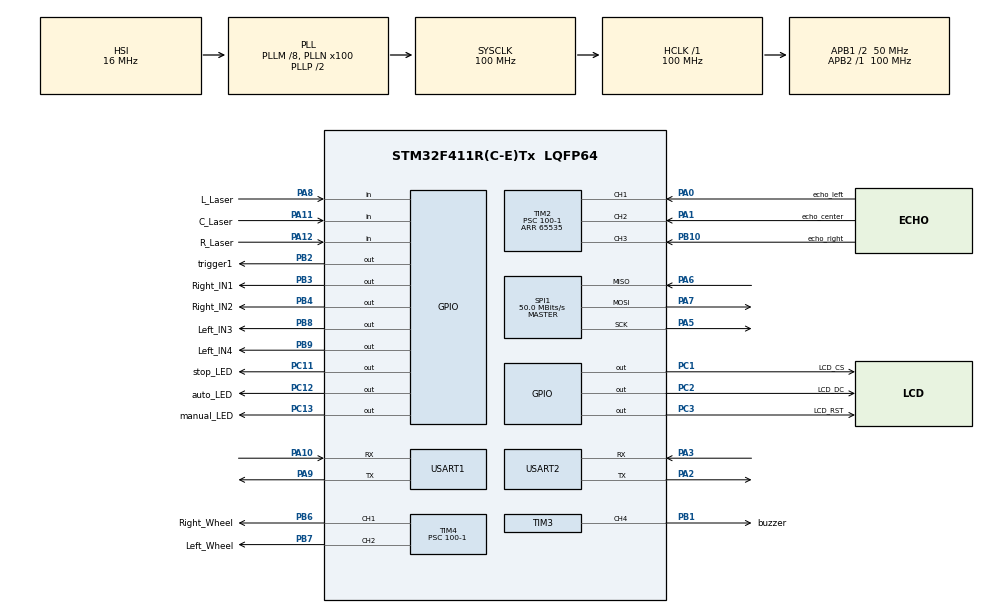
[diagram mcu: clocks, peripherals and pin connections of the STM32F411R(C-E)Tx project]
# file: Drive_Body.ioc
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Dma.Request0=SPI1_TX
Dma.SPI1_TX.0.Direction=DMA_MEMORY_TO_PERIPH
Dma.SPI1_TX.0.FIFOMode=DMA_FIFOMODE_DISABLE
Dma.SPI1_TX.0.Instance=DMA2_Stream2
Dma.SPI1_TX.0.MemDataAlignment=DMA_MDATAALIGN_BYTE
Dma.SPI1_TX.0.MemInc=DMA_MINC_ENABLE
Dma.SPI1_TX.0.Mode=DMA_NORMAL
Dma.SPI1_TX.0.PeriphDataAlignment=DMA_PDATAALIGN_BYTE
Dma.SPI1_TX.0.PeriphInc=DMA_PINC_DISABLE
Dma.SPI1_TX.0.Priority=DMA_PRIORITY_LOW
Mcu.Family=STM32F4
Mcu.Name=STM32F411R(C-E)Tx
Mcu.Package=LQFP64
NVIC.DMA2_Stream2_IRQn=true\:0\:0\:false\:false\:true\:false\:true\:true
NVIC.PriorityGroup=NVIC_PRIORITYGROUP_4
NVIC.SPI1_IRQn=true\:0\:0\:false\:false\:true\:true\:true\:true
NVIC.TIM1_TRG_COM_TIM11_IRQn=true\:0\:0\:false\:false\:true\:true\:true\:true
NVIC.TIM2_IRQn=true\:0\:0\:false\:false\:true\:true\:true\:true
NVIC.USART1_IRQn=true\:0\:0\:false\:false\:true\:true\:true\:true
NVIC.USART2_IRQn=true\:0\:0\:false\:false\:true\:true\:true\:true
PA0-WKUP.GPIO_Label=echo_left
PA0-WKUP.Signal=S_TIM2_CH1_ETR
PA1.GPIO_Label=echo_center
PA1.Signal=S_TIM2_CH2
PA10.Mode=Asynchronous
PA10.Signal=USART1_RX
PA11.GPIO_Label=C_Laser
PA11.Signal=GPIO_Input
PA12.GPIO_Label=R_Laser
PA12.Signal=GPIO_Input
PA2.Mode=Asynchronous
PA2.Signal=USART2_TX
PA3.Mode=Asynchronous
PA3.Signal=USART2_RX
PA5.Mode=Full_Duplex_Master
PA5.Signal=SPI1_SCK
PA6.Mode=Full_Duplex_Master
PA6.Signal=SPI1_MISO
PA7.Mode=Full_Duplex_Master
PA7.Signal=SPI1_MOSI
PA8.GPIO_Label=L_Laser
PA8.Signal=GPIO_Input
PA9.Mode=Asynchronous
PA9.Signal=USART1_TX
PB1.GPIO_Label=buzzer
PB1.Signal=S_TIM3_CH4
PB10.GPIO_Label=echo_right
PB10.Signal=S_TIM2_CH3
PB2.GPIO_Label=trigger1
PB2.Signal=GPIO_Output
PB3.GPIO_Label=Right_IN1
PB3.Signal=GPIO_Output
PB4.GPIO_Label=Right_IN2
PB4.Signal=GPIO_Output
PB6.GPIO_Label=Right_Wheel
PB6.Signal=S_TIM4_CH1
PB7.GPIO_Label=Left_Wheel
PB7.Signal=S_TIM4_CH2
PB8.GPIO_Label=Left_IN3
PB8.Signal=GPIO_Output
PB9.GPIO_Label=Left_IN4
PB9.Signal=GPIO_Output
PC1.GPIO_Label=LCD_CS
PC1.Signal=GPIO_Output
PC11.GPIO_Label=stop_LED
PC11.Signal=GPIO_Output
PC12.GPIO_Label=auto_LED
PC12.Signal=GPIO_Output
PC13-ANTI_TAMP.GPIO_Label=manual_LED
PC13-ANTI_TAMP.Signal=GPIO_Output
PC2.GPIO_Label=LCD_DC
PC2.Signal=GPIO_Output
PC3.GPIO_Label=LCD_RST
PC3.Signal=GPIO_Output
ProjectManager.HeapSize=0x200
ProjectManager.StackSize=0x400
ProjectManager.TargetToolchain=STM32CubeIDE
RCC.48MHZClocksFreq_Value=50000000
RCC.AHBFreq_Value=100000000
RCC.APB1CLKDivider=RCC_HCLK_DIV2
RCC.APB1Freq_Value=50000000
RCC.APB1TimFreq_Value=100000000
RCC.APB2Freq_Value=100000000
RCC.APB2TimFreq_Value=100000000
RCC.CortexFreq_Value=100000000
RCC.HCLKFreq_Value=100000000
RCC.HSE_VALUE=25000000
RCC.HSI_VALUE=16000000
RCC.LSE_VALUE=32768
RCC.PLLM=8
RCC.PLLN=100
RCC.SYSCLKFreq_VALUE=100000000
RCC.SYSCLKSource=RCC_SYSCLKSOURCE_PLLCLK
RCC.VCOOutputFreq_Value=200000000
SH.S_TIM2_CH1_ETR.0=TIM2_CH1,Input_Capture1_from_TI1
SH.S_TIM2_CH2.0=TIM2_CH2,Input_Capture2_from_TI2
SH.S_TIM2_CH3.0=TIM2_CH3,Input_Capture3_from_TI3
SH.S_TIM3_CH4.0=TIM3_CH4,PWM Generation4 CH4
SH.S_TIM4_CH1.0=TIM4_CH1,PWM Generation1 CH1
SH.S_TIM4_CH2.0=TIM4_CH2,PWM Generation2 CH2
SPI1.CalculateBaudRate=50.0 MBits/s
SPI1.Direction=SPI_DIRECTION_2LINES
SPI1.Mode=SPI_MODE_MASTER
SPI1.VirtualType=VM_MASTER
TIM11.Prescaler=100-1
TIM2.Channel-Input_Capture1_from_TI1=TIM_CHANNEL_1
TIM2.Channel-Input_Capture2_from_TI2=TIM_CHANNEL_2
TIM2.Channel-Input_Capture3_from_TI3=TIM_CHANNEL_3
TIM2.Period=65535
TIM2.Prescaler=100-1
TIM3.Channel-PWM\ Generation4\ CH4=TIM_CHANNEL_4
TIM3.Prescaler=100-1
TIM4.Channel-PWM\ Generation1\ CH1=TIM_CHANNEL_1
TIM4.Channel-PWM\ Generation2\ CH2=TIM_CHANNEL_2
TIM4.Period=65535
TIM4.Prescaler=100-1
USART1.VirtualMode=VM_ASYNC
USART2.VirtualMode=VM_ASYNC
VP_TIM11_VS_ClockSourceINT.Mode=Enable_Timer
VP_TIM2_VS_ClockSourceINT.Mode=Internal
VP_TIM3_VS_ClockSourceINT.Mode=Internal
VP_TIM4_VS_ClockSourceINT.Mode=Internal
board=custom

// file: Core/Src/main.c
/* USER CODE BEGIN Header */
/**
 ******************************************************************************
 * @file           : main.c
 * @brief          : Main program body
 ******************************************************************************
 * @attention
 *
 * Copyright (c) 2024 STMicroelectronics.
 * All rights reserved.
 *
 * This software is licensed under terms that can be found in the LICENSE file
 * in the root directory of this software component.
 * If no LICENSE file comes with this software, it is provided AS-IS.
 *
 ******************************************************************************
 */
/* USER CODE END Header */
#include "main.h"

/* USER CODE BEGIN Includes */
#include "adcData.h"
#include "math.h"
#include "ultraSonic.h"
#include "autoMove.h"
#include "ILI9341_GFX.h"
#include "ILI9341_STM32_Driver.h"
#include "fonts.h"
#include "led.h"
#include "buzzer.h"
/* USER CODE END Includes */

SPI_HandleTypeDef hspi1;
DMA_HandleTypeDef hdma_spi1_tx;

TIM_HandleTypeDef htim2;
TIM_HandleTypeDef htim3;
TIM_HandleTypeDef htim4;
TIM_HandleTypeDef htim11;

UART_HandleTypeDef huart1;
UART_HandleTypeDef huart2;

/* USER CODE BEGIN PV */
uint8_t uart1_buf;
uint8_t uart2_buf;

uint8_t adc_cplt_flag = 0;

uint8_t adcVal[7];

safeState_t safemodestate = NONE;

/* USER CODE END PV */

void SystemClock_Config(void);
static void MX_GPIO_Init(void);
static void MX_DMA_Init(void);
static void MX_USART1_UART_Init(void);
static void MX_USART2_UART_Init(void);
static void MX_TIM4_Init(void);
static void MX_TIM2_Init(void);
static void MX_TIM11_Init(void);
static void MX_SPI1_Init(void);
static void MX_TIM3_Init(void);
/* USER CODE BEGIN PFP */
void changeFlag();
void state_Run();

/* USER CODE END PFP */

/* USER CODE BEGIN 0 */
int _write(int file, char *p, int len) {
	HAL_UART_Transmit_IT(&huart2, p, len);
	return len;
}

/* USER CODE END 0 */

int main(void) {

	/* MCU Configuration--------------------------------------------------------*/

	/* Reset of all peripherals, Initializes the Flash interface and the Systick. */
	HAL_Init();

	/* Configure the system clock */
	SystemClock_Config();

	/* Initialize all configured peripherals */
	MX_GPIO_Init();
	MX_DMA_Init();
	MX_USART1_UART_Init();
	MX_USART2_UART_Init();
	MX_TIM4_Init();
	MX_TIM2_Init();
	MX_TIM11_Init();
	MX_SPI1_Init();
	MX_TIM3_Init();
	/* USER CODE BEGIN 2 */
	HAL_UART_Receive_IT(&huart2, &uart2_buf, 1);
	HAL_UART_Receive_IT(&huart1, &uart1_buf, 1);

	LED_init();
	LCD_INIT();
	initSound(&htim3);

	ultraSonicInit(&htim2, &htim11);
	initAutoMove(&htim4);
	HAL_TIM_PWM_Start(&htim4, TIM_CHANNEL_1);
	HAL_TIM_PWM_Start(&htim4, TIM_CHANNEL_2);

	/* USER CODE END 2 */

	/* Infinite loop */
	/* USER CODE BEGIN WHILE */
	while (1) {
		getADCdata(&adc_cplt_flag, &adcVal[0], sizeof(adcVal));

//		printf("%d,%d,%d,%d\n",controlData.modeState,controlData.XData,controlData.hornData, controlData.YData);

		changeFlag();
		horn_Run(controlData.hornData);

		state_Run();

		speedLCD_ON((int) controlData.XData - 2118, (int) controlData.YData - 2068,
				(int) controlData.modeState);

		/* USER CODE END WHILE */

	}
}

void SystemClock_Config(void) {
	RCC_OscInitTypeDef RCC_OscInitStruct = { 0 };
	RCC_ClkInitTypeDef RCC_ClkInitStruct = { 0 };

	/** Configure the main internal regulator output voltage
	 */
	__HAL_RCC_PWR_CLK_ENABLE();
	__HAL_PWR_VOLTAGESCALING_CONFIG(PWR_REGULATOR_VOLTAGE_SCALE1);

	/** Initializes the RCC Oscillators according to the specified parameters
	 * in the RCC_OscInitTypeDef structure.
	 */
	RCC_OscInitStruct.OscillatorType = RCC_OSCILLATORTYPE_HSI;
	RCC_OscInitStruct.HSIState = RCC_HSI_ON;
	RCC_OscInitStruct.HSICalibrationValue = RCC_HSICALIBRATION_DEFAULT;
	RCC_OscInitStruct.PLL.PLLState = RCC_PLL_ON;
	RCC_OscInitStruct.PLL.PLLSource = RCC_PLLSOURCE_HSI;
	RCC_OscInitStruct.PLL.PLLM = 8;
	RCC_OscInitStruct.PLL.PLLN = 100;
	RCC_OscInitStruct.PLL.PLLP = RCC_PLLP_DIV2;
	RCC_OscInitStruct.PLL.PLLQ = 4;
	if (HAL_RCC_OscConfig(&RCC_OscInitStruct) != HAL_OK) {
		Error_Handler();
	}

	/** Initializes the CPU, AHB and APB buses clocks
	 */
	RCC_ClkInitStruct.ClockType = RCC_CLOCKTYPE_HCLK | RCC_CLOCKTYPE_SYSCLK
			| RCC_CLOCKTYPE_PCLK1 | RCC_CLOCKTYPE_PCLK2;
	RCC_ClkInitStruct.SYSCLKSource = RCC_SYSCLKSOURCE_PLLCLK;
	RCC_ClkInitStruct.AHBCLKDivider = RCC_SYSCLK_DIV1;
	RCC_ClkInitStruct.APB1CLKDivider = RCC_HCLK_DIV2;
	RCC_ClkInitStruct.APB2CLKDivider = RCC_HCLK_DIV1;

	if (HAL_RCC_ClockConfig(&RCC_ClkInitStruct, FLASH_LATENCY_3) != HAL_OK) {
		Error_Handler();
	}
}

static void MX_SPI1_Init(void) {

	/* SPI1 parameter configuration*/
	hspi1.Instance = SPI1;
	hspi1.Init.Mode = SPI_MODE_MASTER;
	hspi1.Init.Direction = SPI_DIRECTION_2LINES;
	hspi1.Init.DataSize = SPI_DATASIZE_8BIT;
	hspi1.Init.CLKPolarity = SPI_POLARITY_LOW;
	hspi1.Init.CLKPhase = SPI_PHASE_1EDGE;
	hspi1.Init.NSS = SPI_NSS_SOFT;
	hspi1.Init.BaudRatePrescaler = SPI_BAUDRATEPRESCALER_2;
	hspi1.Init.FirstBit = SPI_FIRSTBIT_MSB;
	hspi1.Init.TIMode = SPI_TIMODE_DISABLE;
	hspi1.Init.CRCCalculation = SPI_CRCCALCULATION_DISABLE;
	hspi1.Init.CRCPolynomial = 10;
	if (HAL_SPI_Init(&hspi1) != HAL_OK) {
		Error_Handler();
	}

}

static void MX_TIM2_Init(void) {

	TIM_ClockConfigTypeDef sClockSourceConfig = { 0 };
	TIM_MasterConfigTypeDef sMasterConfig = { 0 };
	TIM_IC_InitTypeDef sConfigIC = { 0 };

	htim2.Instance = TIM2;
	htim2.Init.Prescaler = 100 - 1;
	htim2.Init.CounterMode = TIM_COUNTERMODE_UP;
	htim2.Init.Period = 65535;
	htim2.Init.ClockDivision = TIM_CLOCKDIVISION_DIV1;
	htim2.Init.AutoReloadPreload = TIM_AUTORELOAD_PRELOAD_DISABLE;
	if (HAL_TIM_Base_Init(&htim2) != HAL_OK) {
		Error_Handler();
	}
	sClockSourceConfig.ClockSource = TIM_CLOCKSOURCE_INTERNAL;
	if (HAL_TIM_ConfigClockSource(&htim2, &sClockSourceConfig) != HAL_OK) {
		Error_Handler();
	}
	if (HAL_TIM_IC_Init(&htim2) != HAL_OK) {
		Error_Handler();
	}
	sMasterConfig.MasterOutputTrigger = TIM_TRGO_RESET;
	sMasterConfig.MasterSlaveMode = TIM_MASTERSLAVEMODE_DISABLE;
	if (HAL_TIMEx_MasterConfigSynchronization(&htim2, &sMasterConfig) != HAL_OK) {
		Error_Handler();
	}
	sConfigIC.ICPolarity = TIM_INPUTCHANNELPOLARITY_RISING;
	sConfigIC.ICSelection = TIM_ICSELECTION_DIRECTTI;
	sConfigIC.ICPrescaler = TIM_ICPSC_DIV1;
	sConfigIC.ICFilter = 0;
	if (HAL_TIM_IC_ConfigChannel(&htim2, &sConfigIC, TIM_CHANNEL_1) != HAL_OK) {
		Error_Handler();
	}
	if (HAL_TIM_IC_ConfigChannel(&htim2, &sConfigIC, TIM_CHANNEL_2) != HAL_OK) {
		Error_Handler();
	}
	if (HAL_TIM_IC_ConfigChannel(&htim2, &sConfigIC, TIM_CHANNEL_3) != HAL_OK) {
		Error_Handler();
	}

}

static void MX_TIM3_Init(void) {

	TIM_ClockConfigTypeDef sClockSourceConfig = { 0 };
	TIM_MasterConfigTypeDef sMasterConfig = { 0 };
	TIM_OC_InitTypeDef sConfigOC = { 0 };

	htim3.Instance = TIM3;
	htim3.Init.Prescaler = 100 - 1;
	htim3.Init.CounterMode = TIM_COUNTERMODE_UP;
	htim3.Init.Period = 65535;
	htim3.Init.ClockDivision = TIM_CLOCKDIVISION_DIV1;
	htim3.Init.AutoReloadPreload = TIM_AUTORELOAD_PRELOAD_DISABLE;
	if (HAL_TIM_Base_Init(&htim3) != HAL_OK) {
		Error_Handler();
	}
	sClockSourceConfig.ClockSource = TIM_CLOCKSOURCE_INTERNAL;
	if (HAL_TIM_ConfigClockSource(&htim3, &sClockSourceConfig) != HAL_OK) {
		Error_Handler();
	}
	if (HAL_TIM_PWM_Init(&htim3) != HAL_OK) {
		Error_Handler();
	}
	sMasterConfig.MasterOutputTrigger = TIM_TRGO_RESET;
	sMasterConfig.MasterSlaveMode = TIM_MASTERSLAVEMODE_DISABLE;
	if (HAL_TIMEx_MasterConfigSynchronization(&htim3, &sMasterConfig) != HAL_OK) {
		Error_Handler();
	}
	sConfigOC.OCMode = TIM_OCMODE_PWM1;
	sConfigOC.Pulse = 0;
	sConfigOC.OCPolarity = TIM_OCPOLARITY_HIGH;
	sConfigOC.OCFastMode = TIM_OCFAST_DISABLE;
	if (HAL_TIM_PWM_ConfigChannel(&htim3, &sConfigOC, TIM_CHANNEL_4) != HAL_OK) {
		Error_Handler();
	}
	HAL_TIM_MspPostInit(&htim3);

}

static void MX_TIM4_Init(void) {

	TIM_ClockConfigTypeDef sClockSourceConfig = { 0 };
	TIM_MasterConfigTypeDef sMasterConfig = { 0 };
	TIM_OC_InitTypeDef sConfigOC = { 0 };

	htim4.Instance = TIM4;
	htim4.Init.Prescaler = 100 - 1;
	htim4.Init.CounterMode = TIM_COUNTERMODE_UP;
	htim4.Init.Period = 65535;
	htim4.Init.ClockDivision = TIM_CLOCKDIVISION_DIV1;
	htim4.Init.AutoReloadPreload = TIM_AUTORELOAD_PRELOAD_DISABLE;
	if (HAL_TIM_Base_Init(&htim4) != HAL_OK) {
		Error_Handler();
	}
	sClockSourceConfig.ClockSource = TIM_CLOCKSOURCE_INTERNAL;
	if (HAL_TIM_ConfigClockSource(&htim4, &sClockSourceConfig) != HAL_OK) {
		Error_Handler();
	}
	if (HAL_TIM_PWM_Init(&htim4) != HAL_OK) {
		Error_Handler();
	}
	sMasterConfig.MasterOutputTrigger = TIM_TRGO_RESET;
	sMasterConfig.MasterSlaveMode = TIM_MASTERSLAVEMODE_DISABLE;
	if (HAL_TIMEx_MasterConfigSynchronization(&htim4, &sMasterConfig) != HAL_OK) {
		Error_Handler();
	}
	sConfigOC.OCMode = TIM_OCMODE_PWM1;
	sConfigOC.Pulse = 0;
	sConfigOC.OCPolarity = TIM_OCPOLARITY_HIGH;
	sConfigOC.OCFastMode = TIM_OCFAST_DISABLE;
	if (HAL_TIM_PWM_ConfigChannel(&htim4, &sConfigOC, TIM_CHANNEL_1) != HAL_OK) {
		Error_Handler();
	}
	if (HAL_TIM_PWM_ConfigChannel(&htim4, &sConfigOC, TIM_CHANNEL_2) != HAL_OK) {
		Error_Handler();
	}
	HAL_TIM_MspPostInit(&htim4);

}

static void MX_TIM11_Init(void) {

	htim11.Instance = TIM11;
	htim11.Init.Prescaler = 100 - 1;
	htim11.Init.CounterMode = TIM_COUNTERMODE_UP;
	htim11.Init.Period = 65535;
	htim11.Init.ClockDivision = TIM_CLOCKDIVISION_DIV1;
	htim11.Init.AutoReloadPreload = TIM_AUTORELOAD_PRELOAD_DISABLE;
	if (HAL_TIM_Base_Init(&htim11) != HAL_OK) {
		Error_Handler();
	}

}

static void MX_USART1_UART_Init(void) {

	huart1.Instance = USART1;
	huart1.Init.BaudRate = 115200;
	huart1.Init.WordLength = UART_WORDLENGTH_8B;
	huart1.Init.StopBits = UART_STOPBITS_1;
	huart1.Init.Parity = UART_PARITY_NONE;
	huart1.Init.Mode = UART_MODE_TX_RX;
	huart1.Init.HwFlowCtl = UART_HWCONTROL_NONE;
	huart1.Init.OverSampling = UART_OVERSAMPLING_16;
	if (HAL_UART_Init(&huart1) != HAL_OK) {
		Error_Handler();
	}

}

static void MX_USART2_UART_Init(void) {

	huart2.Instance = USART2;
	huart2.Init.BaudRate = 115200;
	huart2.Init.WordLength = UART_WORDLENGTH_8B;
	huart2.Init.StopBits = UART_STOPBITS_1;
	huart2.Init.Parity = UART_PARITY_NONE;
	huart2.Init.Mode = UART_MODE_TX_RX;
	huart2.Init.HwFlowCtl = UART_HWCONTROL_NONE;
	huart2.Init.OverSampling = UART_OVERSAMPLING_16;
	if (HAL_UART_Init(&huart2) != HAL_OK) {
		Error_Handler();
	}

}

static void MX_DMA_Init(void) {

	/* DMA controller clock enable */
	__HAL_RCC_DMA2_CLK_ENABLE();

	/* DMA interrupt init */
	/* DMA2_Stream2_IRQn interrupt configuration */
	HAL_NVIC_SetPriority(DMA2_Stream2_IRQn, 0, 0);
	HAL_NVIC_EnableIRQ(DMA2_Stream2_IRQn);

}

static void MX_GPIO_Init(void) {
	GPIO_InitTypeDef GPIO_InitStruct = { 0 };

	/* GPIO Ports Clock Enable */
	__HAL_RCC_GPIOC_CLK_ENABLE();
	__HAL_RCC_GPIOA_CLK_ENABLE();
	__HAL_RCC_GPIOB_CLK_ENABLE();

	/*Configure GPIO pin Output Level */
	HAL_GPIO_WritePin(GPIOC,
			manual_LED_Pin | LCD_CS_Pin | LCD_DC_Pin | LCD_RST_Pin | stop_LED_Pin
					| auto_LED_Pin, GPIO_PIN_RESET);

	/*Configure GPIO pin Output Level */
	HAL_GPIO_WritePin(GPIOB,
			trigger1_Pin | Right_IN1_Pin | Right_IN2_Pin | Left_IN3_Pin | Left_IN4_Pin,
			GPIO_PIN_RESET);

	/*Configure GPIO pins : manual_LED_Pin LCD_CS_Pin LCD_DC_Pin LCD_RST_Pin
	 stop_LED_Pin auto_LED_Pin */
	GPIO_InitStruct.Pin = manual_LED_Pin | LCD_CS_Pin | LCD_DC_Pin | LCD_RST_Pin
			| stop_LED_Pin | auto_LED_Pin;
	GPIO_InitStruct.Mode = GPIO_MODE_OUTPUT_PP;
	GPIO_InitStruct.Pull = GPIO_NOPULL;
	GPIO_InitStruct.Speed = GPIO_SPEED_FREQ_LOW;
	HAL_GPIO_Init(GPIOC, &GPIO_InitStruct);

	/*Configure GPIO pins : trigger1_Pin Right_IN1_Pin Right_IN2_Pin Left_IN3_Pin
	 Left_IN4_Pin */
	GPIO_InitStruct.Pin = trigger1_Pin | Right_IN1_Pin | Right_IN2_Pin
			| Left_IN3_Pin | Left_IN4_Pin;
	GPIO_InitStruct.Mode = GPIO_MODE_OUTPUT_PP;
	GPIO_InitStruct.Pull = GPIO_NOPULL;
	GPIO_InitStruct.Speed = GPIO_SPEED_FREQ_LOW;
	HAL_GPIO_Init(GPIOB, &GPIO_InitStruct);

	/*Configure GPIO pins : L_Laser_Pin C_Laser_Pin R_Laser_Pin */
	GPIO_InitStruct.Pin = L_Laser_Pin | C_Laser_Pin | R_Laser_Pin;
	GPIO_InitStruct.Mode = GPIO_MODE_INPUT;
	GPIO_InitStruct.Pull = GPIO_NOPULL;
	HAL_GPIO_Init(GPIOA, &GPIO_InitStruct);

}

/* USER CODE BEGIN 4 */
void HAL_UART_RxCpltCallback(UART_HandleTypeDef *huart) {
	static uint8_t cnt = 0;
	if (huart->Instance == USART1) {
		HAL_UART_Receive_IT(&huart1, &uart1_buf, 1);
		//HAL_UART_Transmit_IT(&huart2, &uart1_buf, 1);
		switch (cnt) {
		case 0:
			if (uart1_buf == 0x48) {
				adcVal[cnt] = uart1_buf;
				cnt++;
			}
			break;
		case 1:
			if (uart1_buf == 0x59) {
				adcVal[cnt] = uart1_buf;
				cnt++;
			}
			break;
		case 6:
			adcVal[cnt] = uart1_buf;
			cnt = 0;
			adc_cplt_flag = 1;
			break;
		default:
			adcVal[cnt] = uart1_buf;
			cnt++;
		}
	}
	if (huart->Instance == USART2) {
		HAL_UART_Receive_IT(&huart2, &uart2_buf, 1);
		HAL_UART_Transmit_IT(&huart1, &uart2_buf, 1);
	}
}

void changeFlag(){
	if (controlData.modeChangeFlag == 1) {
		switch (controlData.modeState) {
		case 0x00:
			MoveStop(&htim4);
			suddenlyModeLed();
			suddenlyStopSound(&htim3);
			stopSound(&htim3);
			break;
		case 0x01:
			MoveStop(&htim4);
			manualModeLed();
			manualModeSound(&htim3);
			stopSound(&htim3);
			break;
		case 0x02:
			MoveStop(&htim4);
			autoModeLed();
			autoModeSound(&htim3);
			stopSound(&htim3);
			break;
		case 0x03:
			MoveStop(&htim4);
			manualModeLed();
			manualModeSound(&htim3);
			stopSound(&htim3);
			break;
		}
		controlData.modeChangeFlag = 0;
	}
}

void state_Run(){
	switch (controlData.modeState) {
	case 0x00:
		MoveStop(&htim4);
		break;
	case 0x01:
		manualDriveStart(&htim4, controlData.XData, controlData.YData);
		break;
	case 0x02:
		ultraSonicAutoMove(&htim4, &htim11, &htim2,&htim3);
		break;
	case 0x03:
		safeDriveStart(&htim4, &htim2, &htim11, controlData.XData, controlData.YData);
		// safeSound(&htim3, safemodestate);
		break;
	}
}
void horn_Run(uint8_t hornState){
	switch(hornState){
	case 0x00:
		stopSound(&htim3);
		break;
	case 0x01:
		hornSound(&htim3);
		break;
	}
}
/* USER CODE END 4 */

void Error_Handler(void) {
	__disable_irq();
	while (1) {
	}
}
